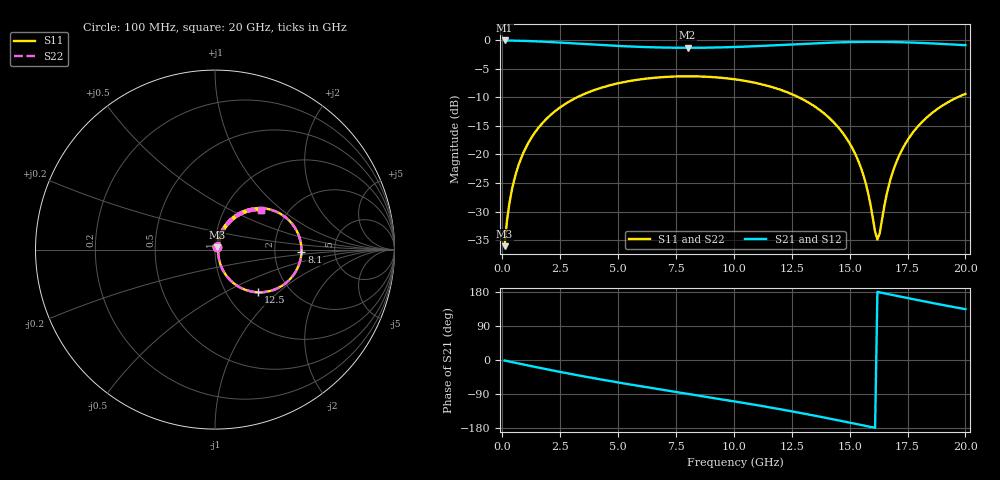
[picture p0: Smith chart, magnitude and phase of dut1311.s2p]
! Touchstone file exported from HFSS 2026.1.0
!  File:  C:/ffzhzh/LocalFiles/Ansys_Project_Files/temp_train_TSV_RDL_1311_1783335260_30076.aedt
!  Generated:  07:05:18 PM Jul  6, 2026
!  Design:  TSV_RDL
!  Project:  temp_train_TSV_RDL_1311_1783335260_30076
! Variables:
!  h_bsmrdl = 5.2um
!  h_ox = 20um
!  h_rdl = 5um
!  h_sub = 88.95um
!  h_tmrdl = 5.63um
!  h_tsv = 88.95um
!  h_via = 3um
!  l_bsmrdl = 449.64um
!  l_sub = 3715.81um
!  l_tmrdl = 452.04um
!  m_sub = 200um
!  pitch = 54.84um
!  r_tsv = 7.85um
!  s_tmrdl = 10um
!  w_bsmrdl = 23.06um
!  w_sub = 500um
!  w_tmrdl = 29.85um
!  x_tsv_center1 = 466.965um
!  x_tsv_center2 = 939.665um
!  x_tsv_center3 = 1421.555um
!  x_tsv_center4 = 1894.255um
!  x_tsv_center5 = 2376.145um
!  x_tsv_center6 = 2848.845um
# GHz S MA R 50.000000
! Terminal data exported
! Port[1] = TM_RDL1_1_T1
! Port[2] = TM_RDL5_1_T1
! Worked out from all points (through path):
!   200 points, 100 MHz to 20 GHz, reference 50 ohm
!   highest |S21| = -0.09 dB at 100 MHz (marker M1); lowest = -1.4 dB at 8 GHz (marker M2)
!   group delay of S21, straight-line fit = 30.5 ps
!   lowest |S11| = -36.0 dB at 100 MHz (marker M3), VSWR 1.03, Z = 51 + j1.23 ohm
!   |S11| at or under -10 dB: start of sweep to 3.237 GHz; 12.8 GHz to 19.67 GHz (6.875 GHz wide, 42.4 % of centre)
!   |S22| runs from -36.0 to -6.3 dB; largest |S21 - S12| = 1.9e-14
!   S11 on the Smith chart (normalised r, x): 100 MHz: 1.02, +0.02; 8.1 GHz: 2.85, -0.11; 12.5 GHz: 1.39, -0.75; 20 GHz: 1.47, +0.73
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0.1  0.01582 49.4  0.9899 -1.4  0.9899 -1.4  0.01582 49.4
! Gamma 0 0 0 0
! Port Impedance 50 0 50 0
0.3  0.03673 68.4  0.9883 -4.0  0.9883 -4.0  0.03673 68.4
0.5  0.05852 71.9  0.9867 -6.6  0.9867 -6.6  0.05852 71.9
1.1  0.1234 69.5  0.9791 -14.3  0.9791 -14.3  0.1234 69.5
2.1  0.2226 59.1  0.9586 -26.7  0.9586 -26.7  0.2226 59.1
3.5  0.3348 43.7  0.9225 -43.0  0.9225 -43.0  0.3348 43.7
6.8  0.4716 10.5  0.8597 -77.4  0.8597 -77.4  0.4717 10.5
8  0.4817 -0.8  0.8541 -89.1  0.8541 -89.1  0.4817 -0.8
8.1  0.4817 -1.7  0.8541 -90.1  0.8541 -90.1  0.4817 -1.8
10.1  0.4515 -20.8  0.8688 -109.9  0.8688 -109.9  0.4515 -20.8
12.5  0.3367 -44.9  0.9142 -135.5  0.9142 -135.5  0.3367 -45.0
13.4  0.2702 -54.3  0.9331 -145.8  0.9331 -145.8  0.2702 -54.4
14.4  0.1828 -64.2  0.9508 -157.8  0.9508 -157.8  0.1828 -64.3
15.2  0.1053 -69.7  0.96 -167.7  0.96 -167.7  0.1053 -69.8
15.7  0.0556 -66.7  0.9627 -174.0  0.9627 -174.0  0.0555 -67.0
16.2  0.01807 -3.8  0.963 179.7  0.963 179.7  0.01775 -3.9
16.3  0.02054 25.4  0.9627 178.5  0.9627 178.5  0.02026 25.8
16.7  0.05431 62.6  0.9606 173.4  0.9606 173.4  0.05422 62.9
17.2  0.1037 65.9  0.9558 167.2  0.9558 167.2  0.1036 66.0
17.9  0.1711 61.4  0.9455 158.6  0.9455 158.6  0.1711 61.5
18.8  0.2503 52.8  0.9276 147.8  0.9276 147.8  0.2503 52.9
20  0.3382 40.6  0.9001 134.1  0.9001 134.1  0.3382 40.6
